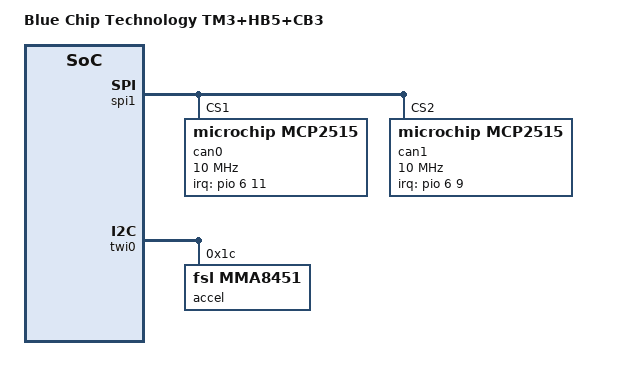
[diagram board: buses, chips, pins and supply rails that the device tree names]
/*
Blue Chip Technology 2022
*/


#include <dt-bindings/input/input.h>

#include "tm3-hb5.dts"

/ {
	model = "Blue Chip Technology TM3+HB5+CB3";

	clocks {
		clk_can: clk_can {
			#clock-cells = <0>;
			compatible = "fixed-clock";
			clock-frequency = <16000000>;
			clock-output-names = "clk_can";
		};
	};

};

&spi1 {
	spi1_cs_number = <0x03>;
	chipselect-gpios = <&pio PH 3 0 0 0 0xffffffff>, <&pio PG 8 0 0 0 0xffffffff>, <&pio PG 12 0 0 0 0xffffffff>;

	/* The Resistive TS stays at reg index 0 */

	can0@1 {
		compatible = "microchip,mcp2515";
		reg = <1>;
		clocks = <&clk_can>;
		interrupt-parent = <&pio>;
		interrupts = <6 11 IRQ_TYPE_EDGE_FALLING>;  /* PG 11 */
		spi-max-frequency = <10000000>;
		status = "okay";
	};

	can1@2 {
		compatible = "microchip,mcp2515";
		reg = <2>;
		clocks = <&clk_can>;
		interrupt-parent = <&pio>;
		interrupts = <6 9 IRQ_TYPE_EDGE_FALLING>; /* PG 9 */
		spi-max-frequency = <10000000>;
		status = "okay";
	};
};


/* I2C bus 0 */
&twi0 {
	/* accelerometer on CB3 */
	accel: mma8451fc@1c {
		compatible = "fsl,mma8451";
		reg = <0x1c>;
		status = "okay";
	};
};

